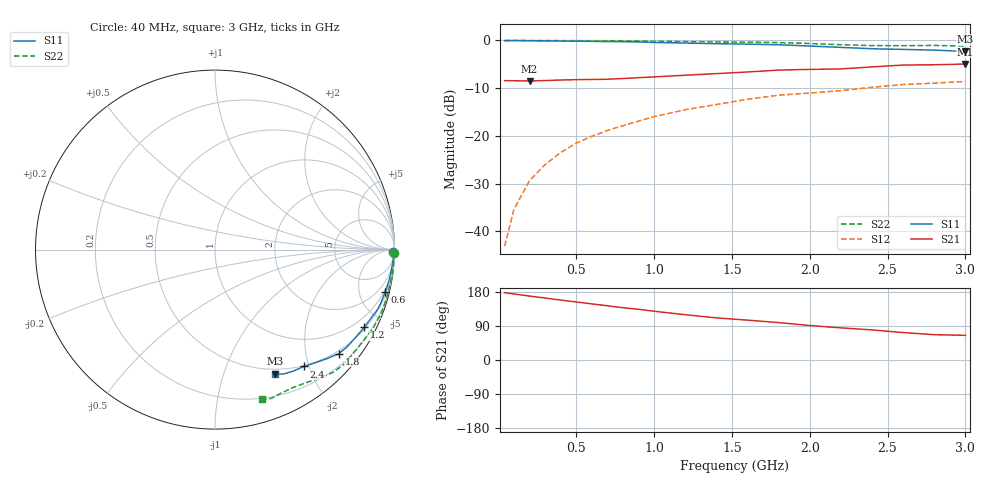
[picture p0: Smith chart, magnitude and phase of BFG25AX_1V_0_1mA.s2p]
! Filename:  BFG25AXA.S2P  Version:  2.0
! Philips part #: BFG25A/X  Date: May 1990
! Bias condition: Vce=1.0V, Ic=0.1mA
#  MHz  S  MA  R  50
! Freq  S11  S21  S12  S22  !GUM [dB]
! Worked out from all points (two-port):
!   21 points, 40 MHz to 3 GHz, reference 50 ohm
!   highest |S21| = -4.94 dB at 3 GHz (marker M1); lowest = -8.5 dB at 200 MHz (marker M2)
!   |S21| within 3 dB of the highest: 821.4 MHz to end of sweep
!   lowest |S11| = -2.3 dB at 3 GHz (marker M3), VSWR 7.58, Z = 22.3 - j74.9 ohm
!   |S11| at or under -10 dB: nowhere
!   |S22| runs from -1.2 to 0.0 dB; largest |S21 - S12| = 0.38
!   S11 on the Smith chart (normalised r, x): 40 MHz: open; 600 MHz: 0.77, -8.01; 1.2 GHz: 0.56, -4.03; 1.8 GHz: 0.44, -2.69; 2.4 GHz: 0.49, -1.92; 3 GHz: 0.45, -1.50
40  0.994 -0.8  0.379 177.7  0.007 88.0  0.999 -1.1
100  0.996 -2.4  0.378 174.2  0.017 88.5  0.999 -2.8
200  0.992 -4.8  0.376 168.7  0.034 85.4  0.997 -5.6
300  0.988 -7.1  0.38 163.5  0.05 83.7  0.996 -8.4
400  0.986 -9.5  0.385 158.2  0.067 81.5  0.994 -11.1
500  0.982 -11.7  0.388 153.1  0.084 79.8  0.994 -13.9
600  0.977 -14.1  0.39 148.1  0.099 78.3  0.993 -16.6
700  0.973 -16.3  0.392 143.1  0.114 76.7  0.992 -19.1
800  0.97 -18.6  0.399 138.0  0.128 75.1  0.99 -21.7
900  0.963 -20.7  0.407 133.8  0.143 73.3  0.986 -24.2
1000  0.952 -23.0  0.415 128.7  0.159 71.3  0.982 -26.7
1200  0.938 -27.4  0.432 119.5  0.188 66.8  0.97 -31.8
1400  0.924 -31.9  0.449 111.2  0.213 63.5  0.963 -36.8
1600  0.914 -36.3  0.467 105.2  0.242 60.9  0.961 -41.8
1800  0.901 -40.0  0.489 98.7  0.267 57.3  0.949 -46.0
2000  0.873 -43.9  0.497 91.0  0.281 53.5  0.928 -50.1
2200  0.845 -48.0  0.503 84.8  0.298 50.2  0.902 -54.8
2400  0.818 -52.7  0.528 79.4  0.323 45.9  0.883 -60.4
2600  0.805 -57.3  0.552 72.4  0.345 41.4  0.881 -65.6
2800  0.791 -61.3  0.556 66.8  0.357 38.9  0.886 -69.4
3000  0.767 -64.3  0.566 65.1  0.372 38.9  0.873 -72.7
